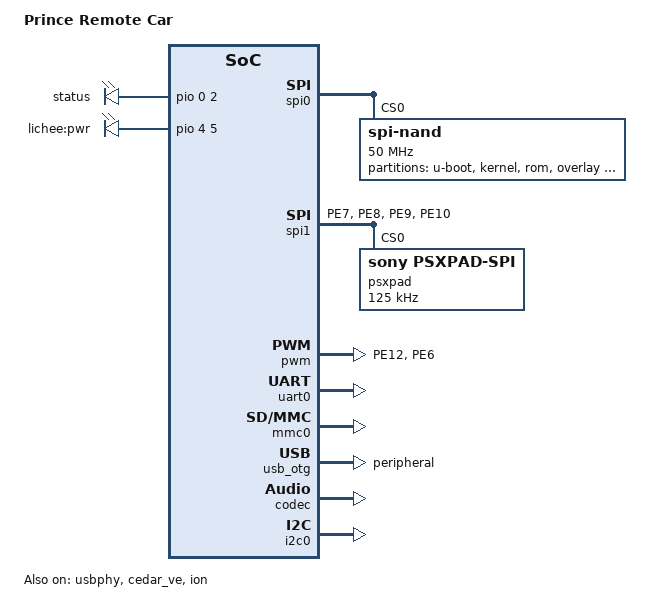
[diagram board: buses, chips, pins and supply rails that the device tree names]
// SPDX-License-Identifier: (GPL-2.0+ OR X11)

/dts-v1/;
#include "suniv-f1c100s.dtsi"
#include <dt-bindings/gpio/gpio.h>
#include <dt-bindings/input/input.h>
#include <dt-bindings/pwm/pwm.h>

/ {
	model = "Prince Remote Car";
	compatible = "allwinner,suniv-f1c100s";

	chosen {
		#address-cells = <1>;
		#size-cells = <1>;
		ranges;

		bootargs = "console=ttyS0,115200 earlyprintk rootwait init=/preinit root=/dev/mtdblock2 rootfstype=squashfs overlayfsdev=/dev/mtdblock3";
	};

	leds {
		compatible = "gpio-leds";

		status {
			label = "status";
			gpios = <&pio 0 2 GPIO_ACTIVE_HIGH>; // PA2
			linux,default-trigger = "heartbeat";
		};

		pwr {
			label = "lichee:pwr";
			gpios = <&pio 4 5 GPIO_ACTIVE_HIGH>; // PE5
			default-state = "on";
			linux,default-trigger = "timer";
		};
	};

};

&spi0 {
	status = "okay";

	spi-nor@0 {
		#address-cells = <1>;
		#size-cells = <1>;
		compatible = "winbond,w25q128", "jedec,spi-nor";
		reg = <0>;
		spi-max-frequency = <50000000>;
		status = "disabled";

		partitions {
			compatible = "fixed-partitions";
			#address-cells = <1>;
			#size-cells = <1>;

			partition@0 {
				label = "u-boot";
				reg = <0x000000 0x70000>;
				read-only;
			};

			partition@1 {
				label = "kernel";
				reg = <0x70000 0x590000>;
				read-only;
			};

			partition@2 {
				label = "rom";
				reg = <0x600000 0x700000>;
				read-only;
			};

			partition@3 {
				label = "overlay";
				reg = <0xd00000 0x300000>;
			};
		};
	};

	spi-nand@0 {
		#address-cells = <1>;
		#size-cells = <1>;
		compatible = "spi-nand";
		reg = <0>;
		spi-max-frequency = <50000000>;
		status = "okay";

		partitions {
			compatible = "fixed-partitions";
			#address-cells = <1>;
			#size-cells = <1>;

			partition@0 {
				label = "u-boot";
				reg = <0x000000 0x100000>;
				read-only;
			};

			partition@1 {
				label = "kernel";
				reg = <0x100000 0x500000>;
				read-only;
			};

			partition@2 {
				label = "rom";
				reg = <0x600000 0x1600000>;
				read-only;
			};

			partition@3 {
				label = "overlay";
				reg = <0x1c00000 0x800000>;
			};

			partition@4 {
				label = "udisk";
				reg = <0x2400000 0x5c00000>;
			};
		};
	};
};

&pio {
	spi1_pins: spi1-pins-pa {
		pins = "PE7", "PE8", "PE9", "PE10";
		function = "spi1";
	};

	pwm0_pin: pwm0@0 {
		pins = "PE12";
		function = "pwm0";
	};

	pwm1_pin: pwm1@0 {
		pins = "PE6";
		function = "pwm1";
	};
};

&spi1 {
	#address-cells = <1>;
	#size-cells = <0>;
	pinctrl-names = "default";
	pinctrl-0 = <&spi1_pins>;
	status = "okay";

	psxpad@0 {
		reg = <0>;
		compatible = "sony,psxpad-spi";
		spi-max-frequency = <125000>; // 250KHz/500KHz
		spi-cpha;
		spi-cpol;
		status = "okay";
	};
};

&pwm {
	pinctrl-names = "default";
	pinctrl-0 = <&pwm0_pin &pwm1_pin>;
	status = "okay";
};

&uart0 {
	pinctrl-names = "default";
	pinctrl-0 = <&uart0_pe_pins>;
	status = "okay";
};

&mmc0 {
	status = "okay";
	broken-cd;
};

&otg_sram {
	status = "okay";
};

&usb_otg {
	dr_mode = "peripheral"; /* otg host peripheral */
	status = "okay";
};

&usbphy {
	//usb0_id_det-gpio = <&pio 4 2 GPIO_ACTIVE_HIGH>; /* PE2 */
	status = "okay";
};

&cedar_ve {
	status = "okay";
};

&ion {
	status = "okay";
};

&codec {
	allwinner,audio-routing =
		"Headphone", "HP",
		"Headphone", "HPCOM",
		"LINEIN", "Line In",
		"FMINL", "Left FM In",
		"FMINR", "Right FM In",
		"MIC", "Mic";
	status = "okay";
};

&i2c0 {
	pinctrl-names = "default";
	pinctrl-0 = <&i2c0_pd_pins>;
	status = "okay";
};
